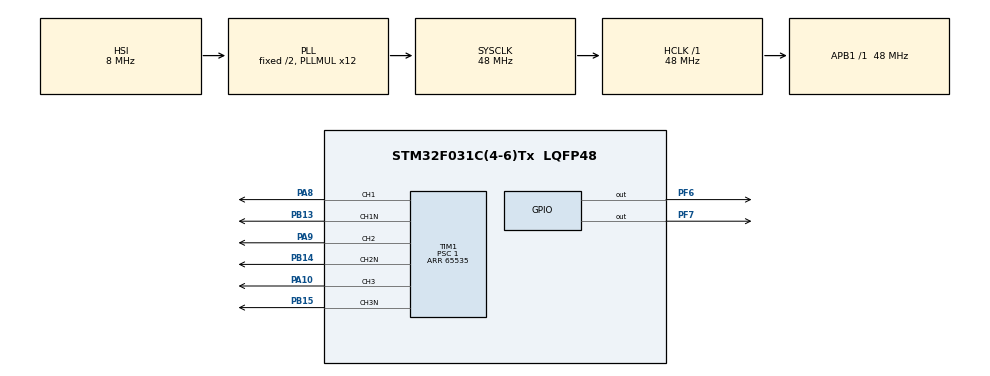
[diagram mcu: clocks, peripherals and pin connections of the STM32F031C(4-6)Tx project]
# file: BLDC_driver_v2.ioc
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Mcu.Family=STM32F0
Mcu.Name=STM32F031C(4-6)Tx
Mcu.Package=LQFP48
PA10.GPIO_Speed=GPIO_SPEED_FREQ_HIGH
PA10.Signal=S_TIM1_CH3
PA8.GPIO_Speed=GPIO_SPEED_FREQ_HIGH
PA8.Signal=S_TIM1_CH1
PA9.GPIO_Speed=GPIO_SPEED_FREQ_HIGH
PA9.Signal=S_TIM1_CH2
PB1.Signal=ADC_IN9
PB13.GPIO_Speed=GPIO_SPEED_FREQ_HIGH
PB13.Mode=PWM Generation1 CH1 CH1N
PB13.Signal=TIM1_CH1N
PB14.GPIO_Speed=GPIO_SPEED_FREQ_HIGH
PB14.Mode=PWM Generation2 CH2 CH2N
PB14.Signal=TIM1_CH2N
PB15.GPIO_Speed=GPIO_SPEED_FREQ_HIGH
PB15.Mode=PWM Generation3 CH3 CH3N
PB15.Signal=TIM1_CH3N
PB6.Signal=I2C1_SCL
PB7.Signal=I2C1_SDA
PF6.PinState=GPIO_PIN_SET
PF6.Signal=GPIO_Output
PF7.PinState=GPIO_PIN_SET
PF7.Signal=GPIO_Output
ProjectManager.HeapSize=0x200
ProjectManager.StackSize=0x400
ProjectManager.TargetToolchain=TrueSTUDIO
RCC.AHBFreq_Value=48000000
RCC.APB1Freq_Value=48000000
RCC.APB1TimFreq_Value=48000000
RCC.HCLKFreq_Value=48000000
RCC.PLLMUL=RCC_PLL_MUL12
RCC.SYSCLKFreq_VALUE=48000000
RCC.SYSCLKSource=RCC_SYSCLKSOURCE_PLLCLK
SH.S_TIM1_CH1.0=TIM1_CH1,PWM Generation1 CH1 CH1N
SH.S_TIM1_CH2.0=TIM1_CH2,PWM Generation2 CH2 CH2N
SH.S_TIM1_CH3.0=TIM1_CH3,PWM Generation3 CH3 CH3N
TIM1.Channel-PWM\ Generation1\ CH1\ CH1N=TIM_CHANNEL_1
TIM1.Channel-PWM\ Generation2\ CH2\ CH2N=TIM_CHANNEL_2
TIM1.Channel-PWM\ Generation3\ CH3\ CH3N=TIM_CHANNEL_3
TIM1.DeadTime=0
TIM1.Period=65535
TIM1.Prescaler=1
TIM1.Pulse-PWM\ Generation1\ CH1\ CH1N=65535
TIM1.Pulse-PWM\ Generation2\ CH2\ CH2N=65535
TIM1.Pulse-PWM\ Generation3\ CH3\ CH3N=65535
VP_TIM1_VS_ClockSourceINT.Mode=Internal
board=custom

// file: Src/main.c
/* USER CODE BEGIN Header */
/**
  ******************************************************************************
  * @file           : main.c
  * @brief          : Main program body
  ******************************************************************************
  ** This notice applies to any and all portions of this file
  * that are not between comment pairs USER CODE BEGIN and
  * USER CODE END. Other portions of this file, whether
  * inserted by the user or by software development tools
  * are owned by their respective copyright owners.
  *
  * COPYRIGHT(c) 2019 STMicroelectronics
  *
  * Redistribution and use in source and binary forms, with or without modification,
  * are permitted provided that the following conditions are met:
  *   1. Redistributions of source code must retain the above copyright notice,
  *      this list of conditions and the following disclaimer.
  *   2. Redistributions in binary form must reproduce the above copyright notice,
  *      this list of conditions and the following disclaimer in the documentation
  *      and/or other materials provided with the distribution.
  *   3. Neither the name of STMicroelectronics nor the names of its contributors
  *      may be used to endorse or promote products derived from this software
  *      without specific prior written permission.
  *
  * THIS SOFTWARE IS PROVIDED BY THE COPYRIGHT HOLDERS AND CONTRIBUTORS "AS IS"
  * AND ANY EXPRESS OR IMPLIED WARRANTIES, INCLUDING, BUT NOT LIMITED TO, THE
  * IMPLIED WARRANTIES OF MERCHANTABILITY AND FITNESS FOR A PARTICULAR PURPOSE ARE
  * DISCLAIMED. IN NO EVENT SHALL THE COPYRIGHT HOLDER OR CONTRIBUTORS BE LIABLE
  * FOR ANY DIRECT, INDIRECT, INCIDENTAL, SPECIAL, EXEMPLARY, OR CONSEQUENTIAL
  * DAMAGES (INCLUDING, BUT NOT LIMITED TO, PROCUREMENT OF SUBSTITUTE GOODS OR
  * SERVICES; LOSS OF USE, DATA, OR PROFITS; OR BUSINESS INTERRUPTION) HOWEVER
  * CAUSED AND ON ANY THEORY OF LIABILITY, WHETHER IN CONTRACT, STRICT LIABILITY,
  * OR TORT (INCLUDING NEGLIGENCE OR OTHERWISE) ARISING IN ANY WAY OUT OF THE USE
  * OF THIS SOFTWARE, EVEN IF ADVISED OF THE POSSIBILITY OF SUCH DAMAGE.
  *
  ******************************************************************************
  */
/* USER CODE END Header */

#include "main.h"
#include "tim.h"
#include "gpio.h"

void SystemClock_Config(void);

int main(void)
{
  /* USER CODE BEGIN 1 */
	 uint16_t movement_tableU[6] = {49152,65535,49152,16384,0,16384};
	  uint16_t movement_tableV[6] = {0,16384,49152,65535,49152,16384};
	  uint16_t movement_tableW[6] = {49152,16384,0,16384,49152,65535};
  /* USER CODE END 1 */

  /* MCU Configuration--------------------------------------------------------*/

  /* Reset of all peripherals, Initializes the Flash interface and the Systick. */
  HAL_Init();

  /* Configure the system clock */
  SystemClock_Config();

  /* Initialize all configured peripherals */
  MX_GPIO_Init();
  MX_TIM1_Init();
  /* USER CODE BEGIN 2 */

  //HAL_Delay(1500);
  //HAL_TIMEx_PWMN_Start_IT(&htim1, TIM_CHANNEL_2);
  HAL_TIM_PWM_Start(&htim1, TIM_CHANNEL_1);
  HAL_TIMEx_PWMN_Start(&htim1, TIM_CHANNEL_1);
  HAL_TIM_PWM_Start(&htim1, TIM_CHANNEL_2);
  HAL_TIMEx_PWMN_Start(&htim1, TIM_CHANNEL_2);
  HAL_TIM_PWM_Start(&htim1, TIM_CHANNEL_3);
  HAL_TIMEx_PWMN_Start(&htim1, TIM_CHANNEL_3);

  /* USER CODE END 2 */

  /* Infinite loop */
  while (1)
  {

    /* USER CODE BEGIN 3 */
	  static uint16_t i = 0x0;
	  /*__HAL_TIM_SET_COMPARE(&htim1, TIM_CHANNEL_1,i);
	  __HAL_TIM_SET_COMPARE(&htim1, TIM_CHANNEL_2,i);
	  __HAL_TIM_SET_COMPARE(&htim1, TIM_CHANNEL_3,i);
	  i -= 200;
	  HAL_Delay(10);*/

	  for(i=0;i<6;i++){
		__HAL_TIM_SET_COMPARE(&htim1, TIM_CHANNEL_1,movement_tableU[i]);
		__HAL_TIM_SET_COMPARE(&htim1, TIM_CHANNEL_2,movement_tableV[i]);
		__HAL_TIM_SET_COMPARE(&htim1, TIM_CHANNEL_3,movement_tableW[i]);
		HAL_Delay(2000);
	  }
  }
  /* USER CODE END 3 */
}

void SystemClock_Config(void)
{
  RCC_OscInitTypeDef RCC_OscInitStruct = {0};
  RCC_ClkInitTypeDef RCC_ClkInitStruct = {0};

  /**Initializes the CPU, AHB and APB busses clocks
  */
  RCC_OscInitStruct.OscillatorType = RCC_OSCILLATORTYPE_HSI;
  RCC_OscInitStruct.HSIState = RCC_HSI_ON;
  RCC_OscInitStruct.HSICalibrationValue = RCC_HSICALIBRATION_DEFAULT;
  RCC_OscInitStruct.PLL.PLLState = RCC_PLL_ON;
  RCC_OscInitStruct.PLL.PLLSource = RCC_PLLSOURCE_HSI;
  RCC_OscInitStruct.PLL.PLLMUL = RCC_PLL_MUL12;
  RCC_OscInitStruct.PLL.PREDIV = RCC_PREDIV_DIV1;
  if (HAL_RCC_OscConfig(&RCC_OscInitStruct) != HAL_OK)
  {
    Error_Handler();
  }
  /**Initializes the CPU, AHB and APB busses clocks
  */
  RCC_ClkInitStruct.ClockType = RCC_CLOCKTYPE_HCLK|RCC_CLOCKTYPE_SYSCLK
                              |RCC_CLOCKTYPE_PCLK1;
  RCC_ClkInitStruct.SYSCLKSource = RCC_SYSCLKSOURCE_PLLCLK;
  RCC_ClkInitStruct.AHBCLKDivider = RCC_SYSCLK_DIV1;
  RCC_ClkInitStruct.APB1CLKDivider = RCC_HCLK_DIV1;

  if (HAL_RCC_ClockConfig(&RCC_ClkInitStruct, FLASH_LATENCY_1) != HAL_OK)
  {
    Error_Handler();
  }
}

void Error_Handler(void)
{
}

/************************ (C) COPYRIGHT STMicroelectronics *****END OF FILE****/
